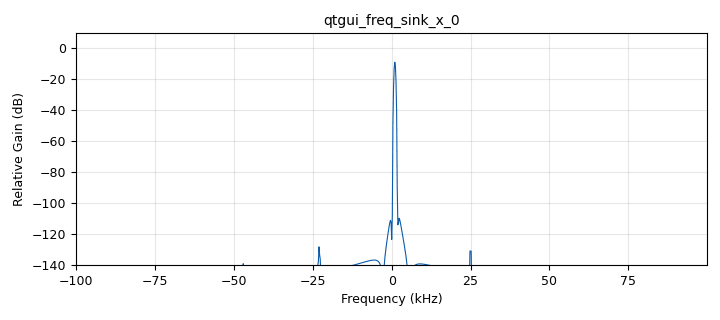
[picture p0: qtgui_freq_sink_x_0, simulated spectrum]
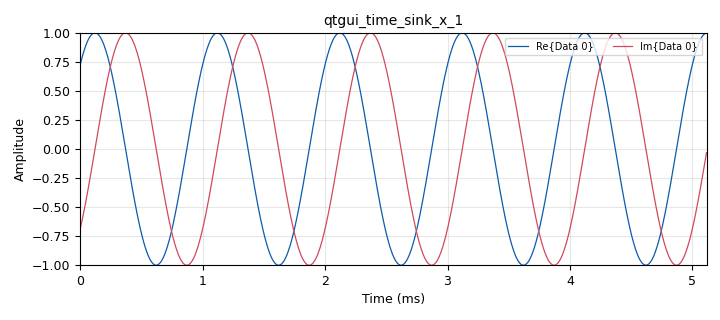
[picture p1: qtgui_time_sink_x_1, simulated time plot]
options:
  parameters:
    author: RicardoJaimes_AndresBarreto_L1C_G06
    generate_options: qt_gui
    id: ConfiguracionUSRP
    output_language: python
  states: {}

blocks:
- name: A
  id: variable_qtgui_range
  parameters:
    label: Amplitud señal
    start: '0'
    step: '1e-6'
    stop: '1'
    value: '1'
  states: {}
- name: GTX
  id: variable_qtgui_range
  parameters:
    label: Ganancia del TX
    start: '0'
    step: '1'
    stop: '30'
    value: '0'
  states: {}
- name: fc
  id: variable_qtgui_range
  parameters:
    label: frecuenciaPortadora
    start: '50000000'
    step: '1000000'
    stop: '2200000000'
    value: '50000000'
  states: {}
- name: samp_rate
  id: variable
  parameters:
    value: '200000'
  states: {}
- name: analog_sig_source_x_0
  id: analog_sig_source_x
  parameters:
    amp: A
    freq: '1000'
    offset: '0'
    phase: '0'
    samp_rate: samp_rate
    type: complex
    waveform: analog.GR_COS_WAVE
  states: {}
- name: qtgui_freq_sink_x_0
  id: qtgui_freq_sink_x
  parameters:
    bw: samp_rate
    fc: '0'
    fftsize: '1024'
    type: complex
  states: {}
- name: qtgui_time_sink_x_1
  id: qtgui_time_sink_x
  parameters:
    size: '1024'
    srate: samp_rate
    type: complex
  states: {}
- name: uhd_usrp_sink_1
  id: uhd_usrp_sink
  parameters:
    ant0: '"TX/RX"'
    center_freq0: fc
    gain0: GTX
    samp_rate: samp_rate
    sync: pc_clock
    type: fc32
  states: {}

connections:
- [analog_sig_source_x_0, '0', qtgui_freq_sink_x_0, '0']
- [analog_sig_source_x_0, '0', qtgui_time_sink_x_1, '0']
- [analog_sig_source_x_0, '0', uhd_usrp_sink_1, '0']

metadata:
  file_format: 1
  grc_version: 3.10.5.1
